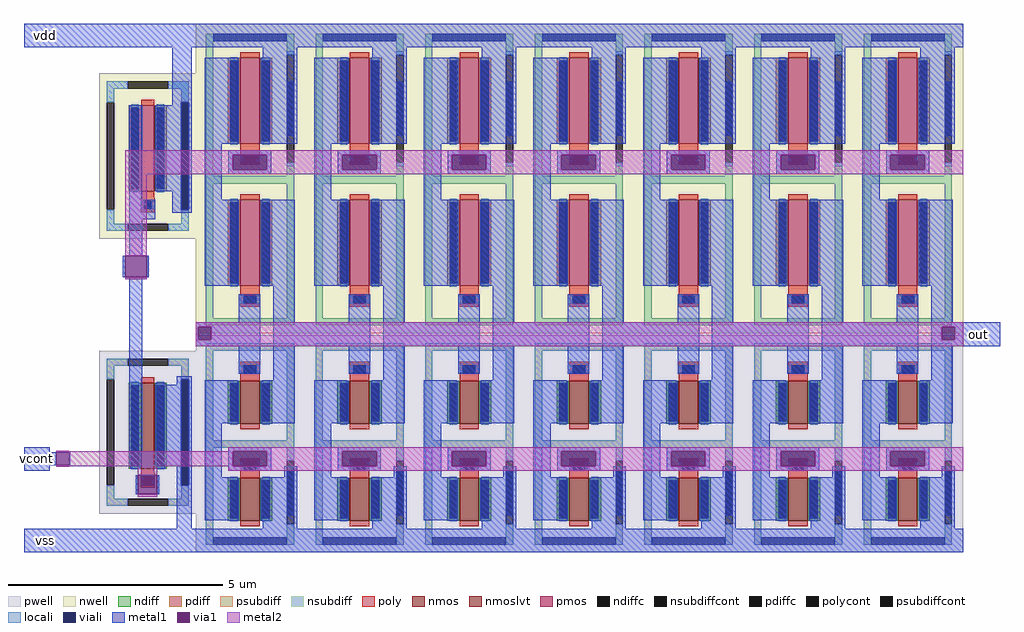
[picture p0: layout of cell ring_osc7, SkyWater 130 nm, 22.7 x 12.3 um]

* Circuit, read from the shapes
.subckt ring_osc7 vdd vss vcont out
XM1 vss vcont delay_stage_0/vcont_p vss sky130_fd_pr__nfet_01v8_lvt w=2 l=0.3
XM2 vss vcont n1 vss sky130_fd_pr__nfet_01v8 w=1 l=0.45
XM3 x2/in out n1 vss sky130_fd_pr__nfet_01v8 w=1 l=0.45
XM4 vss vcont n2 vss sky130_fd_pr__nfet_01v8 w=1 l=0.45
XM5 delay_stage_0/in x2/in n2 vss sky130_fd_pr__nfet_01v8 w=1 l=0.45
XM6 vss vcont n3 vss sky130_fd_pr__nfet_01v8 w=1 l=0.45
XM7 delay_stage_2/in delay_stage_0/in n3 vss sky130_fd_pr__nfet_01v8 w=1 l=0.45
XM8 vss vcont n4 vss sky130_fd_pr__nfet_01v8 w=1 l=0.45
XM9 x3/in delay_stage_2/in n4 vss sky130_fd_pr__nfet_01v8 w=1 l=0.45
XM10 vss vcont n5 vss sky130_fd_pr__nfet_01v8 w=1 l=0.45
XM11 delay_stage_3/in x3/in n5 vss sky130_fd_pr__nfet_01v8 w=1 l=0.45
XM12 vss vcont n6 vss sky130_fd_pr__nfet_01v8 w=1 l=0.45
XM13 delay_stage_1/in delay_stage_3/in n6 vss sky130_fd_pr__nfet_01v8 w=1 l=0.45
XM14 vss vcont n7 vss sky130_fd_pr__nfet_01v8 w=1 l=0.45
XM15 out delay_stage_1/in n7 vss sky130_fd_pr__nfet_01v8 w=1 l=0.45
XM16 vdd delay_stage_0/vcont_p delay_stage_0/vcont_p vdd sky130_fd_pr__pfet_01v8 w=2 l=0.3
XM17 x2/in out n8 vdd sky130_fd_pr__pfet_01v8 w=2 l=0.45
XM18 vdd delay_stage_0/vcont_p n8 vdd sky130_fd_pr__pfet_01v8 w=2 l=0.45
XM19 delay_stage_0/in x2/in n9 vdd sky130_fd_pr__pfet_01v8 w=2 l=0.45
XM20 vdd delay_stage_0/vcont_p n9 vdd sky130_fd_pr__pfet_01v8 w=2 l=0.45
XM21 delay_stage_2/in delay_stage_0/in n10 vdd sky130_fd_pr__pfet_01v8 w=2 l=0.45
XM22 vdd delay_stage_0/vcont_p n10 vdd sky130_fd_pr__pfet_01v8 w=2 l=0.45
XM23 x3/in delay_stage_2/in n11 vdd sky130_fd_pr__pfet_01v8 w=2 l=0.45
XM24 vdd delay_stage_0/vcont_p n11 vdd sky130_fd_pr__pfet_01v8 w=2 l=0.45
XM25 delay_stage_3/in x3/in n12 vdd sky130_fd_pr__pfet_01v8 w=2 l=0.45
XM26 vdd delay_stage_0/vcont_p n12 vdd sky130_fd_pr__pfet_01v8 w=2 l=0.45
XM27 delay_stage_1/in delay_stage_3/in n13 vdd sky130_fd_pr__pfet_01v8 w=2 l=0.45
XM28 vdd delay_stage_0/vcont_p n13 vdd sky130_fd_pr__pfet_01v8 w=2 l=0.45
XM29 out delay_stage_1/in n14 vdd sky130_fd_pr__pfet_01v8 w=2 l=0.45
XM30 vdd delay_stage_0/vcont_p n14 vdd sky130_fd_pr__pfet_01v8 w=2 l=0.45
.ends

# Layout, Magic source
magic
tech sky130A
magscale 1 2
<< viali >>
rect -68 393 -34 895
rect -68 -888 -34 -394
<< metal1 >>
rect -800 1150 3570 1260
rect -110 895 -20 1150
rect -110 880 -68 895
rect -310 440 -250 880
rect -190 480 -68 880
rect -310 350 -190 440
rect -110 393 -68 480
rect -34 393 -20 895
rect 160 580 170 650
rect 330 580 340 650
rect 670 580 680 650
rect 840 580 850 650
rect 1180 580 1190 650
rect 1350 580 1360 650
rect 1690 580 1700 650
rect 1860 580 1870 650
rect 2200 580 2210 650
rect 2370 580 2380 650
rect -110 380 -20 393
rect -310 180 -250 350
rect -340 80 -330 180
rect -230 80 -220 180
rect -800 -734 -680 -710
rect -800 -795 -651 -734
rect -590 -795 -584 -734
rect -800 -820 -680 -795
rect -310 -800 -250 80
rect 3540 -150 3740 -130
rect 0 -210 10 -150
rect 70 -210 80 -150
rect 3460 -210 3470 -150
rect 3530 -210 3740 -150
rect 3540 -240 3740 -210
rect -90 -394 -20 -380
rect -90 -420 -68 -394
rect -190 -800 -68 -420
rect -280 -930 -270 -840
rect -180 -930 -170 -840
rect -90 -888 -68 -800
rect -34 -888 -20 -394
rect 160 -800 170 -730
rect 330 -800 340 -730
rect 670 -800 680 -730
rect 840 -800 850 -730
rect 1180 -800 1190 -730
rect 1350 -800 1360 -730
rect 1690 -800 1700 -730
rect 1860 -800 1870 -730
rect 2200 -800 2210 -730
rect 2370 -800 2380 -730
rect -90 -1090 -20 -888
rect -800 -1200 3570 -1090
<< via1 >>
rect 170 580 330 650
rect 680 580 840 650
rect 1190 580 1350 650
rect 1700 580 1860 650
rect 2210 580 2370 650
rect 2720 580 2880 650
rect 3230 580 3390 650
rect -330 80 -230 180
rect -651 -795 -590 -734
rect 10 -210 70 -150
rect 3470 -210 3530 -150
rect -270 -930 -180 -840
rect 170 -800 330 -730
rect 680 -800 840 -730
rect 1190 -800 1350 -730
rect 1700 -800 1860 -730
rect 2210 -800 2370 -730
rect 2720 -800 2880 -730
rect 3230 -800 3390 -730
<< metal2 >>
rect -330 650 3570 670
rect -330 580 170 650
rect 330 580 680 650
rect 840 580 1190 650
rect 1350 580 1700 650
rect 1860 580 2210 650
rect 2370 580 2720 650
rect 2880 580 3230 650
rect 3390 580 3570 650
rect -330 560 3570 580
rect -330 180 -230 560
rect -330 70 -230 80
rect 0 -150 3570 -130
rect 0 -210 10 -150
rect 70 -210 3470 -150
rect 3530 -210 3570 -150
rect 0 -240 3570 -210
rect -651 -730 -590 -728
rect 150 -730 3570 -710
rect -651 -734 170 -730
rect -590 -795 170 -734
rect -651 -800 170 -795
rect 330 -800 680 -730
rect 840 -800 1190 -730
rect 1350 -800 1700 -730
rect 1860 -800 2210 -730
rect 2370 -800 2720 -730
rect 2880 -800 3230 -730
rect 3390 -800 3570 -730
rect -651 -801 -590 -800
rect -270 -840 -180 -800
rect 150 -820 3570 -800
rect -270 -940 -180 -930
use delay_stage  delay_stage_0 ~/Development/spo/vlsi/tt07-spo-pll/mag
transform 1 0 -90 0 1 1470
box 1110 -2670 1620 -210
use delay_stage  delay_stage_1
transform 1 0 1950 0 1 1470
box 1110 -2670 1620 -210
use delay_stage  delay_stage_2
transform 1 0 420 0 1 1470
box 1110 -2670 1620 -210
use delay_stage  delay_stage_3
transform 1 0 1440 0 1 1470
box 1110 -2670 1620 -210
use delay_stage  x1
transform 1 0 -1110 0 1 1470
box 1110 -2670 1620 -210
use delay_stage  x2
transform 1 0 -600 0 1 1470
box 1110 -2670 1620 -210
use delay_stage  x3
transform 1 0 930 0 1 1470
box 1110 -2670 1620 -210
use sky130_fd_pr__pfet_01v8_PLD8WZ  XM5
transform 1 0 -224 0 1 644
box -226 -384 226 384
use sky130_fd_pr__nfet_01v8_lvt_TKZJHP  XM6
transform 1 0 -224 0 1 -641
box -226 -379 226 379
<< labels >>
flabel metal1 -800 -820 -680 -710 0 FreeSans 256 0 0 0 vcont
port 2 nsew
flabel metal1 -800 -1200 -600 -1090 0 FreeSans 256 0 0 0 vss
port 1 nsew
flabel metal1 -800 1150 -600 1260 0 FreeSans 256 0 0 0 vdd
port 0 nsew
flabel metal1 3540 -240 3740 -130 0 FreeSans 256 0 0 0 out
port 3 nsew
<< end >>

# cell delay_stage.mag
magic
tech sky130A
magscale 1 2
<< nwell >>
rect 1110 -1650 1620 -210
<< pwell >>
rect 1110 -2670 1620 -1660
<< metal1 >>
rect 1110 -320 1620 -210
rect 1150 -770 1300 -370
rect 1420 -770 1580 -320
rect 1150 -1030 1230 -770
rect 1260 -910 1460 -800
rect 1150 -1430 1300 -1030
rect 1420 -1430 1570 -1030
rect 1310 -1600 1410 -1470
rect 1110 -1710 1410 -1600
rect 1310 -1840 1410 -1710
rect 1470 -1600 1570 -1430
rect 1470 -1710 1620 -1600
rect 1470 -1870 1570 -1710
rect 1150 -2070 1300 -1870
rect 1420 -2070 1570 -1870
rect 1150 -2320 1230 -2070
rect 1260 -2290 1460 -2180
rect 1520 -2320 1580 -2270
rect 1150 -2520 1300 -2320
rect 1420 -2560 1580 -2320
rect 1110 -2670 1620 -2560
use sky130_fd_pr__nfet_01v8_46DABQ  sky130_fd_pr__nfet_01v8_46DABQ_0
transform 1 0 1361 0 1 -1941
box -241 -279 241 279
use sky130_fd_pr__nfet_01v8_TTGNW2  sky130_fd_pr__nfet_01v8_TTGNW2_0
transform 1 0 1361 0 1 -2391
box -241 -279 241 279
use sky130_fd_pr__pfet_01v8_5YCKZA  sky130_fd_pr__pfet_01v8_5YCKZA_0
transform 1 0 1361 0 1 -1266
box -241 -384 241 384
use sky130_fd_pr__pfet_01v8_38U2ME  sky130_fd_pr__pfet_01v8_38U2ME_0
transform 1 0 1361 0 1 -606
box -241 -384 241 384
<< labels >>
flabel metal1 1260 -2290 1460 -2180 0 FreeSans 256 0 0 0 vcont_n
port 4 nsew
flabel metal1 1260 -910 1460 -800 0 FreeSans 256 0 0 0 vcont_p
port 1 nsew
flabel metal1 1260 -2670 1460 -2560 0 FreeSans 256 0 0 0 vss
port 5 nsew
flabel metal1 1260 -320 1460 -210 0 FreeSans 256 0 0 0 vdd
port 0 nsew
flabel metal1 1110 -1710 1310 -1600 0 FreeSans 256 0 0 0 in
port 3 nsew
flabel metal1 1470 -1710 1620 -1600 0 FreeSans 256 0 0 0 out
port 2 nsew
<< end >>

# cell sky130_fd_pr__pfet_01v8_PLD8WZ: kit device sky130_fd_pr__pfet_01v8, w 2.0 l 0.3 m 1 nf 1 diffcov 100 polycov 100 guard 1 glc 1 grc 1 gtc 1 gbc 1 tbcov 100 rlcov 100 topc 0 botc 1 poverlap 0 doverlap 1 lmin 0.15 wmin 0.42 compatible {sky130_fd_pr__pfet_01v8 sky130_fd_pr__pfet_01v8_lvt sky130_fd_pr__pfet_01v8_hvt sky130_fd_pr__pfet_g5v0d10v5} full_metal 1 viasrc 100 viadrn 100 viagate 100 viagb 0 viagr 0 viagl 0 viagt 0

# cell sky130_fd_pr__nfet_01v8_lvt_TKZJHP: kit device sky130_fd_pr__nfet_01v8_lvt, w 2 l 0.3 m 1 nf 1 diffcov 100 polycov 100 guard 1 glc 1 grc 1 gtc 1 gbc 1 tbcov 100 rlcov 100 topc 0 botc 1 poverlap 0 doverlap 1 lmin 0.15 wmin 0.42 compatible {sky130_fd_pr__nfet_01v8 sky130_fd_pr__nfet_01v8_lvt sky130_fd_bs_flash__special_sonosfet_star sky130_fd_pr__nfet_g5v0d10v5 sky130_fd_pr__nfet_05v0_nvt sky130_fd_pr__nfet_03v3_nvt} full_metal 1 viasrc 100 viadrn 100 viagate 100 viagb 0 viagr 0 viagl 0 viagt 0

# cell sky130_fd_pr__nfet_01v8_46DABQ: kit device sky130_fd_pr__nfet_01v8, w 1.0 l 0.45 m 1 nf 1 diffcov 100 polycov 100 guard 1 glc 0 grc 0 gtc 0 gbc 0 tbcov 100 rlcov 100 topc 1 botc 0 poverlap 0 doverlap 1 lmin 0.15 wmin 0.42 compatible {sky130_fd_pr__nfet_01v8 sky130_fd_pr__nfet_01v8_lvt sky130_fd_bs_flash__special_sonosfet_star sky130_fd_pr__nfet_g5v0d10v5 sky130_fd_pr__nfet_05v0_nvt sky130_fd_pr__nfet_03v3_nvt} full_metal 1 viasrc 100 viadrn 100 viagate 100 viagb 0 viagr 0 viagl 0 viagt 0

# cell sky130_fd_pr__nfet_01v8_TTGNW2: kit device sky130_fd_pr__nfet_01v8, w 1.0 l 0.45 m 1 nf 1 diffcov 100 polycov 100 guard 1 glc 0 grc 1 gtc 0 gbc 0 tbcov 100 rlcov 100 topc 1 botc 0 poverlap 0 doverlap 1 lmin 0.15 wmin 0.42 compatible {sky130_fd_pr__nfet_01v8 sky130_fd_pr__nfet_01v8_lvt sky130_fd_bs_flash__special_sonosfet_star sky130_fd_pr__nfet_g5v0d10v5 sky130_fd_pr__nfet_05v0_nvt sky130_fd_pr__nfet_03v3_nvt} full_metal 1 viasrc 100 viadrn 100 viagate 100 viagb 100 viagr 50 viagl 0 viagt 0

# cell sky130_fd_pr__pfet_01v8_5YCKZA: kit device sky130_fd_pr__pfet_01v8, w 2 l 0.45 m 1 nf 1 diffcov 100 polycov 100 guard 1 glc 0 grc 0 gtc 0 gbc 0 tbcov 100 rlcov 100 topc 0 botc 1 poverlap 0 doverlap 1 lmin 0.15 wmin 0.42 compatible {sky130_fd_pr__pfet_01v8 sky130_fd_pr__pfet_01v8_lvt sky130_fd_pr__pfet_01v8_hvt sky130_fd_pr__pfet_g5v0d10v5} full_metal 0 viasrc 100 viadrn 100 viagate 100 viagb 0 viagr 0 viagl 0 viagt 0

# cell sky130_fd_pr__pfet_01v8_38U2ME: kit device sky130_fd_pr__pfet_01v8, w 2 l 0.45 m 1 nf 1 diffcov 100 polycov 100 guard 1 glc 0 grc 1 gtc 0 gbc 0 tbcov 100 rlcov 100 topc 0 botc 1 poverlap 0 doverlap 1 lmin 0.15 wmin 0.42 compatible {sky130_fd_pr__pfet_01v8 sky130_fd_pr__pfet_01v8_lvt sky130_fd_pr__pfet_01v8_hvt sky130_fd_pr__pfet_g5v0d10v5} full_metal 0 viasrc 100 viadrn 100 viagate 100 viagb 0 viagr 40 viagl 0 viagt 100
